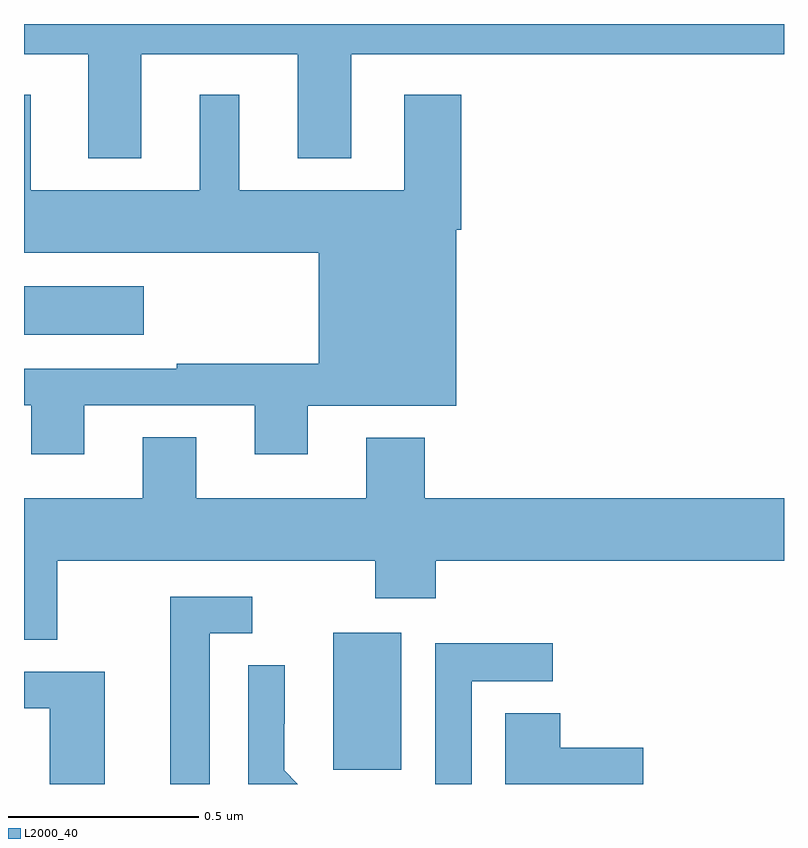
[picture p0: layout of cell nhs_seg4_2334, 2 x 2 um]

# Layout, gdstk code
import gdstk
lib = gdstk.Library(unit=1e-6, precision=1e-09)
def R(c, l, rs):  # rectangles x0, y0, x1, y1
    for r in rs: c.add(gdstk.rectangle(r[:2], r[2:], *l))
def P(c, l, *ps):  # polygons
    for p in ps: c.add(gdstk.Polygon(p, *l))
L2000_40 = (2000, 40)

nhs_seg4_2334 = lib.new_cell('nhs_seg4_2334')
R(nhs_seg4_2334, L2000_40, [(139.814,794.937,139.993,795.298), (139,796.082,139.315,796.21)])
P(nhs_seg4_2334, L2000_40, [(139.309,796.82),(139.721,796.82),(139.721,796.547),(139.861,796.547),(139.861,796.82),(141,796.82),(141,796.9),(139,796.9),(139,796.82),(139.169,796.82),(139.169,796.547),(139.309,796.547)],
  [(139.159,795.897),(139.607,795.897),(139.607,795.768),(139.747,795.768),(139.747,795.896),(140.137,795.896),(140.137,796.358),(140.15,796.358),(140.15,796.714),(140,796.714),(140,796.462),(139.567,796.462),(139.567,796.714),(139.463,796.714),(139.463,796.462),(139.018,796.462),(139.018,796.714),(139,796.714),(139,796.298),(139.775,796.298),(139.775,796.006),(139.402,796.006),(139.402,795.993),(139,795.993),(139,795.897),(139.019,795.897),(139.019,795.768),(139.159,795.768)],
  [(139.901,795.811),(139.901,795.652),(139.453,795.652),(139.453,795.812),(139.313,795.812),(139.313,795.652),(139,795.652),(139,795.28),(139.087,795.28),(139.087,795.488),(139.924,795.488),(139.924,795.389),(140.084,795.389),(140.084,795.488),(141,795.488),(141,795.652),(140.054,795.652),(140.054,795.811)],
  [(139.489,795.297),(139.6,795.297),(139.6,795.393),(139.385,795.393),(139.385,794.9),(139.489,794.9)],
  [(140.178,795.171),(140.392,795.171),(140.392,795.27),(140.082,795.27),(140.082,794.9),(140.178,794.9)],
  [(139.685,794.936),(139.685,795.058),(139.686,795.058),(139.686,795.212),(139.59,795.212),(139.59,794.9),(139.72,794.9)],
  [(139.213,795.195),(139,795.195),(139,795.099),(139.068,795.099),(139.068,794.9),(139.213,794.9)],
  [(140.629,794.996),(140.411,794.996),(140.411,795.086),(140.267,795.086),(140.267,794.9),(140.629,794.9)])

lib.write_gds('nhs_seg4_2334.gds')
